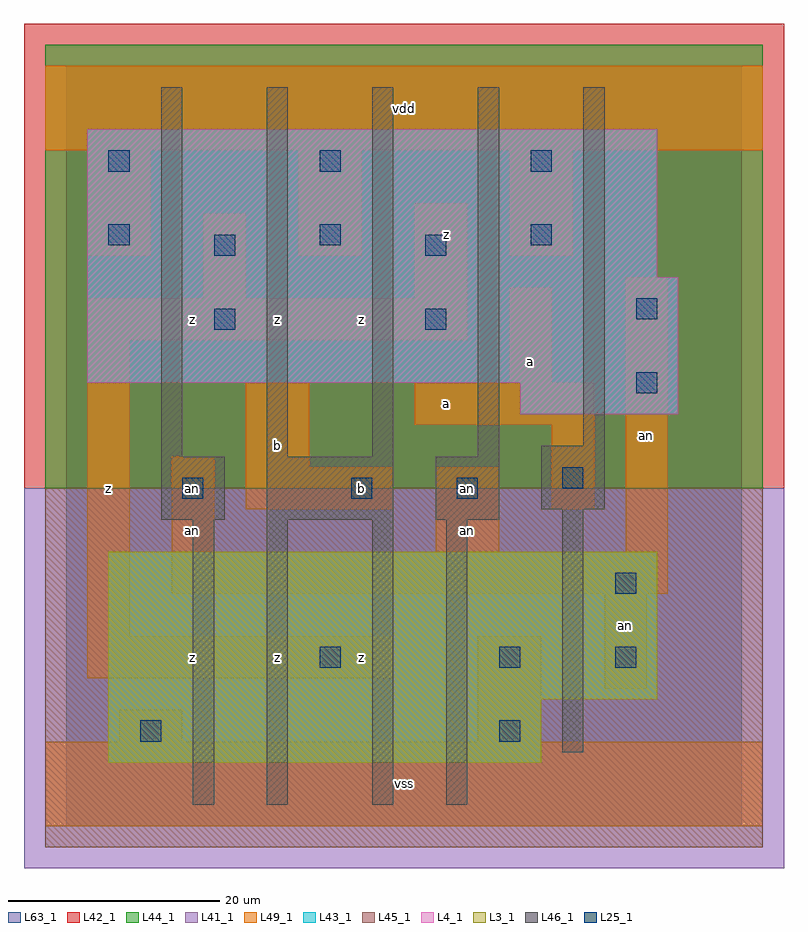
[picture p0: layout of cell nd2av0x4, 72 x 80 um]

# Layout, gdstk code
import gdstk
lib = gdstk.Library(unit=1e-6, precision=1e-09)
def R(c, l, rs):  # rectangles x0, y0, x1, y1
    for r in rs: c.add(gdstk.rectangle(r[:2], r[2:], *l))
def A(c, l, x, y, w, h, nx, ny, dx, dy):  # array of equal rectangles
    R(c, l, [(x+i*dx, y+j*dy, x+i*dx+w, y+j*dy+h) for i in range(nx) for j in range(ny)])
L3_1 = (3, 1)
L4_1 = (4, 1)
L25_1 = (25, 1)
L41_1 = (41, 1)
L42_1 = (42, 1)
L43_1 = (43, 1)
L44_1 = (44, 1)
L45_1 = (45, 1)
L46_1 = (46, 1)
L49_1 = (49, 1)
L63_1 = (63, 1)

nd2av0x4 = lib.new_cell('nd2av0x4')
R(nd2av0x4, L3_1, [(4,6,45,12), (4,12,56,26)])
R(nd2av0x4, L4_1, [(43,39,58,42), (2,42,58,52), (2,52,56,66)])
A(nd2av0x4, L25_1, 4, 55, 2, 2, 3, 2, 20, 7)
R(nd2av0x4, L25_1, [(7,8,9,10), (41,8,43,10), (24,15,26,17), (41,15,43,17), (52,15,54,17), (52,22,54,24), (11,31,13,33), (27,31,29,33), (37,31,39,33), (47,32,49,34), (54,41,56,43), (14,47,16,49), (34,47,36,49), (54,48,56,50), (14,54,16,56), (34,54,36,56)])
R(nd2av0x4, L41_1, [(-4,-4,68,32)])
R(nd2av0x4, L42_1, [(-4,32,68,76)])
R(nd2av0x4, L43_1, [(4,6,45,12), (4,12,56,26), (43,39,58,42), (2,42,58,52), (2,52,56,66)])
R(nd2av0x4, L44_1, [(-2,32,66,74)])
R(nd2av0x4, L45_1, [(-2,-2,66,32)])
A(nd2av0x4, L46_1, 9, 35, 2, 35, 4, 1, 10, 0)
R(nd2av0x4, L46_1, [(12,2,14,29), (19,2,21,29), (29,2,31,29), (36,2,38,29), (47,7,49,30), (9,29,15,35), (19,29,31,35), (35,29,41,35), (45,30,51,36), (49,36,51,70)])
A(nd2av0x4, L49_1, 2, 54, 6, 10, 3, 1, 20, 0)
R(nd2av0x4, L49_1, [(-2,0,66,8), (5,8,11,11), (39,8,45,18), (51,13,55,22), (2,14,31,18), (2,18,6,46), (10,22,57,26), (10,26,14,35), (35,26,41,34), (53,26,57,52), (17,30,31,34), (46,30,50,38), (17,34,23,42), (33,38,50,42), (42,42,46,51), (2,46,38,50), (13,50,17,58), (33,50,38,59), (-2,64,66,72)])
R(nd2av0x4, L63_1, [(0,0,64,72)])
nd2av0x4.add(gdstk.Label('an', (12,32), layer=49, texttype=1))
nd2av0x4.add(gdstk.Label('an', (38,32), layer=49, texttype=1))
nd2av0x4.add(gdstk.Label('z', (12,16), layer=49, texttype=1))
nd2av0x4.add(gdstk.Label('an', (12,28), layer=49, texttype=1))
nd2av0x4.add(gdstk.Label('z', (4,32), layer=49, texttype=1))
nd2av0x4.add(gdstk.Label('z', (12,48), layer=49, texttype=1))
nd2av0x4.add(gdstk.Label('z', (20,16), layer=49, texttype=1))
nd2av0x4.add(gdstk.Label('z', (28,16), layer=49, texttype=1))
nd2av0x4.add(gdstk.Label('b', (28,32), layer=49, texttype=1))
nd2av0x4.add(gdstk.Label('b', (20,36), layer=49, texttype=1))
nd2av0x4.add(gdstk.Label('z', (20,48), layer=49, texttype=1))
nd2av0x4.add(gdstk.Label('z', (28,48), layer=49, texttype=1))
nd2av0x4.add(gdstk.Label('vss', (32,4), layer=49, texttype=1))
nd2av0x4.add(gdstk.Label('an', (38,28), layer=49, texttype=1))
nd2av0x4.add(gdstk.Label('a', (36,40), layer=49, texttype=1))
nd2av0x4.add(gdstk.Label('a', (44,44), layer=49, texttype=1))
nd2av0x4.add(gdstk.Label('z', (36,56), layer=49, texttype=1))
nd2av0x4.add(gdstk.Label('vdd', (32,68), layer=49, texttype=1))
nd2av0x4.add(gdstk.Label('an', (53,19), layer=49, texttype=1))
nd2av0x4.add(gdstk.Label('an', (55,37), layer=49, texttype=1))

lib.write_gds('nd2av0x4.gds')
